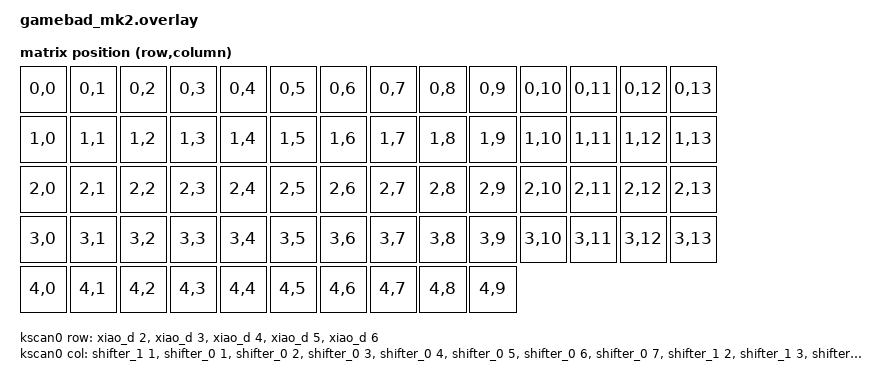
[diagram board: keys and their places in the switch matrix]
#include <dt-bindings/zmk/matrix_transform.h>

#include "gamebad_mk2-layouts.dtsi"

/ {
  kscan0: kscan0 {
    compatible = "zmk,kscan-gpio-matrix";
    diode-direction = "col2row";
    wakeup-source;
    // not a typo, more of a physical fuckup
    col-gpios
      = <&shifter_1 1 GPIO_ACTIVE_HIGH>
      , <&shifter_0 1 GPIO_ACTIVE_HIGH>
      , <&shifter_0 2 GPIO_ACTIVE_HIGH>
      , <&shifter_0 3 GPIO_ACTIVE_HIGH>
      , <&shifter_0 4 GPIO_ACTIVE_HIGH>
      , <&shifter_0 5 GPIO_ACTIVE_HIGH>
      , <&shifter_0 6 GPIO_ACTIVE_HIGH>
      , <&shifter_0 7 GPIO_ACTIVE_HIGH>
      , <&shifter_1 2 GPIO_ACTIVE_HIGH>
      , <&shifter_1 3 GPIO_ACTIVE_HIGH>
      , <&shifter_1 4 GPIO_ACTIVE_HIGH>
      , <&shifter_1 5 GPIO_ACTIVE_HIGH>
      , <&shifter_1 6 GPIO_ACTIVE_HIGH>
      , <&shifter_1 7 GPIO_ACTIVE_HIGH>
    ;

    row-gpios
      = <&xiao_d 2 (GPIO_ACTIVE_HIGH | GPIO_PULL_DOWN)>
      , <&xiao_d 3 (GPIO_ACTIVE_HIGH | GPIO_PULL_DOWN)>
      , <&xiao_d 4 (GPIO_ACTIVE_HIGH | GPIO_PULL_DOWN)>
      , <&xiao_d 5 (GPIO_ACTIVE_HIGH | GPIO_PULL_DOWN)>
      , <&xiao_d 6 (GPIO_ACTIVE_HIGH | GPIO_PULL_DOWN)>
    ;
  };

  keymap_transform0: keymap_transform0 {
    compatible = "zmk,matrix-transform";
    columns = <14>;
    rows = <5>;
    map = <
      RC(0,0) RC(0,1) RC(0,2) RC(0,3) RC(0,4) RC(0,5) RC(0,6) RC(0,7) RC(0,8) RC(0,9) RC(0,10) RC(0,11) RC(0,12) RC(0,13)
      RC(1,0) RC(1,1) RC(1,2) RC(1,3) RC(1,4) RC(1,5) RC(1,6) RC(1,7) RC(1,8) RC(1,9) RC(1,10) RC(1,11) RC(1,12) RC(1,13)
      RC(2,0) RC(2,1) RC(2,2) RC(2,3) RC(2,4) RC(2,5) RC(2,6) RC(2,7) RC(2,8) RC(2,9) RC(2,10) RC(2,11) RC(2,12) RC(2,13)
      RC(3,0) RC(3,1) RC(3,2) RC(3,3) RC(3,4) RC(3,5) RC(3,6) RC(3,7) RC(3,8) RC(3,9) RC(3,10) RC(3,11) RC(3,12) RC(3,13)
      RC(4,0) RC(4,1) RC(4,2) RC(4,3) RC(4,4) RC(4,5) RC(4,6) RC(4,7) RC(4,8) RC(4,9)
    >;
  };

  chosen {
    zmk,physical-layout = &physical_layout0;
  };
};

&xiao_spi {
  status = "okay";
  cs-gpios = <&xiao_d 0 GPIO_ACTIVE_LOW>, <&xiao_d 1 GPIO_ACTIVE_LOW>;
  shifter_0: 595@0 {
    compatible = "zmk,gpio-595";
    status = "okay";
    gpio-controller;
    spi-max-frequency = <125000>;
    reg = <0>;
    #gpio-cells = <2>;
    ngpios = <8>;
  };
  shifter_1: 595@1 {
    compatible = "zmk,gpio-595";
    status = "okay";
    gpio-controller;
    spi-max-frequency = <125000>;
    reg = <1>;
    #gpio-cells = <2>;
    ngpios = <8>;
  };
};
